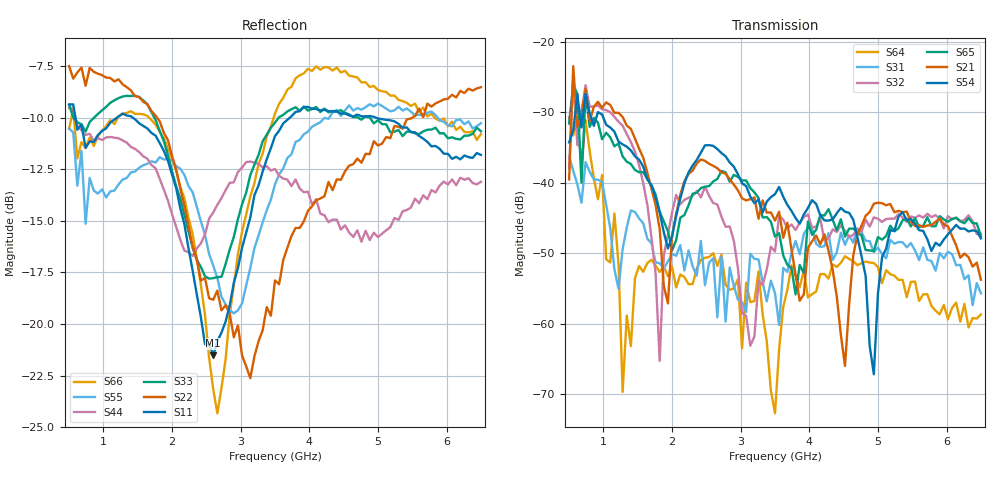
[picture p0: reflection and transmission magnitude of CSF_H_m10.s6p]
!Keysight Technologies,M9804A,MY58100912,A.14.10.03
!Date: Thursday, April 27, 2023 10:28:33
!Correction: S11(C  6-Port  )
!S12(C  6-Port  )
!S13(C  6-Port  )
!S14(C  6-Port  )
!S15(C  6-Port  )
!S16(C  6-Port  )
!S21(C  6-Port  )
!S22(C  6-Port  )
!S23(C  6-Port  )
!S24(C  6-Port  )
!S25(C  6-Port  )
!S26(C  6-Port  )
!S31(C  6-Port  )
!S32(C  6-Port  )
!S33(C  6-Port  )
!S34(C  6-Port  )
!S35(C  6-Port  )
!S36(C  6-Port  )
!S41(C  6-Port  )
!S42(C  6-Port  )
!S43(C  6-Port  )
!S44(C  6-Port  )
!S45(C  6-Port  )
!S46(C  6-Port  )
!S51(C  6-Port  )
!S52(C  6-Port  )
!S53(C  6-Port  )
!S54(C  6-Port  )
!S55(C  6-Port  )
!S56(C  6-Port  )
!S61(C  6-Port  )
!S62(C  6-Port  )
!S63(C  6-Port  )
!S64(C  6-Port  )
!S65(C  6-Port  )
!S66(C  6-Port  )
!S6P File: Measurement: :
# Hz S  RI  R 50
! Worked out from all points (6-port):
!   101 points, 500 MHz to 6.5 GHz, reference 50 ohm
!   strongest paths, dB at 500 MHz, 2 GHz, 3.5 GHz, 5 GHz, 6.5 GHz:
!     S54: -34.3, -47.6, -41.6, -55.7, -47.9
!     S21: -39.5, -47.5, -45.4, -42.8, -53.8
!     S65: -31.6, -49.6, -47.6, -47.7, -47.6
!     S32: -37.8, -44.2, -49.7, -45.1, -47.2
!     S31: -36.2, -50.1, -55.7, -49.2, -55.7
!     S64: -30.7, -51.9, -72.7, -52.0, -58.7
!   lowest |S11| = -21.5 dB at 2.6 GHz (marker M1), VSWR 1.18, Z = 42.5 + j2.13 ohm
!   |S11| at or under -10 dB: 592 MHz to 1.194 GHz (601.7 MHz wide, 67.4 % of centre); 1.432 GHz to 3.713 GHz (2.281 GHz wide, 88.7 % of centre); 4.978 GHz to end of sweep
